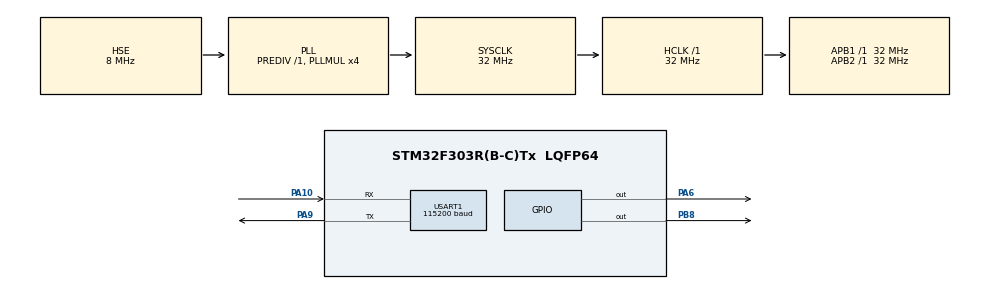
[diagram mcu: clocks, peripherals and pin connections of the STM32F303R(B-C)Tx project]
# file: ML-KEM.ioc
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Mcu.Family=STM32F3
Mcu.Name=STM32F303R(B-C)Tx
Mcu.Package=LQFP64
NVIC.PriorityGroup=NVIC_PRIORITYGROUP_4
PA10.Mode=Asynchronous
PA10.Signal=USART1_RX
PA6.PinState=GPIO_PIN_RESET
PA6.Signal=GPIO_Output
PA9.Mode=Asynchronous
PA9.Signal=USART1_TX
PB8.PinState=GPIO_PIN_SET
PB8.Signal=GPIO_Output
PF0-OSC_IN.Mode=HSE-External-Oscillator
PF0-OSC_IN.Signal=RCC_OSC_IN
PF1-OSC_OUT.Mode=HSE-External-Oscillator
PF1-OSC_OUT.Signal=RCC_OSC_OUT
ProjectManager.HeapSize=0x200
ProjectManager.StackSize=0x400
ProjectManager.TargetToolchain=STM32CubeIDE
RCC.AHBFreq_Value=32000000
RCC.APB1Freq_Value=32000000
RCC.APB1TimFreq_Value=32000000
RCC.APB2Freq_Value=32000000
RCC.APB2TimFreq_Value=32000000
RCC.CortexFreq_Value=32000000
RCC.HCLKFreq_Value=32000000
RCC.HSE_VALUE=8000000
RCC.HSI_VALUE=8000000
RCC.LSE_VALUE=32768
RCC.PLLMUL=RCC_PLL_MUL4
RCC.PLLSourceVirtual=RCC_PLLSOURCE_HSE
RCC.SYSCLKFreq_VALUE=32000000
RCC.SYSCLKSourceVirtual=RCC_SYSCLKSOURCE_PLLCLK
RCC.USBFreq_Value=32000000
USART1.BaudRate=115200
USART1.VirtualMode-Asynchronous=VM_ASYNC
board=custom

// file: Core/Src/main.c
/* USER CODE BEGIN Header */
/**
  ******************************************************************************
  * @file           : main.c
  * @brief          : Main program body
  ******************************************************************************
  * @attention
  *
  * Copyright (c) 2024 STMicroelectronics.
  * All rights reserved.
  *
  * This software is licensed under terms that can be found in the LICENSE file
  * in the root directory of this software component.
  * If no LICENSE file comes with this software, it is provided AS-IS.
  *
  ******************************************************************************
  */
/* USER CODE END Header */
#include "main.h"

/* USER CODE BEGIN Includes */
// ML-KEM-512 Ref: https://github.com/mupq/pqm4/tree/master/crypto_kem/ml-kem-512/m4fspeed
#include "api.h"

/* USER CODE END Includes */

UART_HandleTypeDef huart1;

void SystemClock_Config(void);
static void MX_GPIO_Init(void);
static void MX_USART1_UART_Init(void);

int main(void)
{

  /* USER CODE BEGIN 1 */
	uint8_t sk[CRYPTO_SECRETKEYBYTES];
	uint8_t pk[CRYPTO_PUBLICKEYBYTES];
	uint8_t ss[CRYPTO_BYTES];
	uint8_t ssoutput[CRYPTO_BYTES];
	uint8_t ct[CRYPTO_CIPHERTEXTBYTES];

	int ret = 0;
	uint8_t start[1];

  /* USER CODE END 1 */

  /* MCU Configuration--------------------------------------------------------*/

  /* Reset of all peripherals, Initializes the Flash interface and the Systick. */
  HAL_Init();

  /* Configure the system clock */
  SystemClock_Config();

  /* Initialize all configured peripherals */
  MX_GPIO_Init();
  MX_USART1_UART_Init();
  /* USER CODE BEGIN 2 */
  crypto_kem_keypair(pk, sk);
  /* USER CODE END 2 */

  /* Infinite loop */
  /* USER CODE BEGIN WHILE */
  while (1)
  {
	  ret = HAL_UART_Receive(&huart1, start, 1, HAL_MAX_DELAY); //receive 1 byte of data from the serial port
	  if(ret==HAL_OK)
	  {
		 __disable_irq();  // disable interrupts
		 HAL_GPIO_WritePin(GPIOA, GPIO_PIN_6, 1); // drive the level high before encryption as a trigger signal
		 crypto_kem_enc(ct, ss, pk); //generate the shared secret ss and the corresponding ciphertext ct
		 HAL_GPIO_WritePin(GPIOA, GPIO_PIN_6, 0); // drive the level low after encryption
		 __enable_irq();  // enable interrupts
	     HAL_UART_Transmit(&huart1, ss, CRYPTO_BYTES, HAL_MAX_DELAY);
	     HAL_UART_Transmit(&huart1, ct, CRYPTO_BYTES, HAL_MAX_DELAY);

		 __disable_irq();  // disable interrupts
		 HAL_GPIO_WritePin(GPIOA, GPIO_PIN_6, 1); // drive the level high before decryption as a trigger signal
		 crypto_kem_dec(ssoutput, ct, sk); //decrypt the ciphertext ct to obtain ssoutput
		 HAL_GPIO_WritePin(GPIOA, GPIO_PIN_6, 0); // drive the level low after decryption
		 __enable_irq();  // enable interrupts
	     HAL_UART_Transmit(&huart1, ssoutput, CRYPTO_BYTES, HAL_MAX_DELAY);

	  }

    /* USER CODE END WHILE */

  }
}

void SystemClock_Config(void)
{
  RCC_OscInitTypeDef RCC_OscInitStruct = {0};
  RCC_ClkInitTypeDef RCC_ClkInitStruct = {0};
  RCC_PeriphCLKInitTypeDef PeriphClkInit = {0};

  /** Initializes the RCC Oscillators according to the specified parameters
  * in the RCC_OscInitTypeDef structure.
  */
  RCC_OscInitStruct.OscillatorType = RCC_OSCILLATORTYPE_HSE;
  RCC_OscInitStruct.HSEState = RCC_HSE_ON;
  RCC_OscInitStruct.HSEPredivValue = RCC_HSE_PREDIV_DIV1;
  RCC_OscInitStruct.HSIState = RCC_HSI_ON;
  RCC_OscInitStruct.PLL.PLLState = RCC_PLL_ON;
  RCC_OscInitStruct.PLL.PLLSource = RCC_PLLSOURCE_HSE;
  RCC_OscInitStruct.PLL.PLLMUL = RCC_PLL_MUL4;
  if (HAL_RCC_OscConfig(&RCC_OscInitStruct) != HAL_OK)
  {
    Error_Handler();
  }

  /** Initializes the CPU, AHB and APB buses clocks
  */
  RCC_ClkInitStruct.ClockType = RCC_CLOCKTYPE_HCLK|RCC_CLOCKTYPE_SYSCLK
                              |RCC_CLOCKTYPE_PCLK1|RCC_CLOCKTYPE_PCLK2;
  RCC_ClkInitStruct.SYSCLKSource = RCC_SYSCLKSOURCE_PLLCLK;
  RCC_ClkInitStruct.AHBCLKDivider = RCC_SYSCLK_DIV1;
  RCC_ClkInitStruct.APB1CLKDivider = RCC_HCLK_DIV1;
  RCC_ClkInitStruct.APB2CLKDivider = RCC_HCLK_DIV1;

  if (HAL_RCC_ClockConfig(&RCC_ClkInitStruct, FLASH_LATENCY_1) != HAL_OK)
  {
    Error_Handler();
  }
  PeriphClkInit.PeriphClockSelection = RCC_PERIPHCLK_USART1;
  PeriphClkInit.Usart1ClockSelection = RCC_USART1CLKSOURCE_PCLK2;
  if (HAL_RCCEx_PeriphCLKConfig(&PeriphClkInit) != HAL_OK)
  {
    Error_Handler();
  }
}

static void MX_USART1_UART_Init(void)
{

  huart1.Instance = USART1;
  huart1.Init.BaudRate = 115200;
  huart1.Init.WordLength = UART_WORDLENGTH_8B;
  huart1.Init.StopBits = UART_STOPBITS_1;
  huart1.Init.Parity = UART_PARITY_NONE;
  huart1.Init.Mode = UART_MODE_TX_RX;
  huart1.Init.HwFlowCtl = UART_HWCONTROL_NONE;
  huart1.Init.OverSampling = UART_OVERSAMPLING_16;
  huart1.Init.OneBitSampling = UART_ONE_BIT_SAMPLE_DISABLE;
  huart1.AdvancedInit.AdvFeatureInit = UART_ADVFEATURE_NO_INIT;
  if (HAL_UART_Init(&huart1) != HAL_OK)
  {
    Error_Handler();
  }

}

static void MX_GPIO_Init(void)
{
  GPIO_InitTypeDef GPIO_InitStruct = {0};

  /* GPIO Ports Clock Enable */
  __HAL_RCC_GPIOF_CLK_ENABLE();
  __HAL_RCC_GPIOA_CLK_ENABLE();
  __HAL_RCC_GPIOB_CLK_ENABLE();

  /*Configure GPIO pin Output Level */
  HAL_GPIO_WritePin(GPIOA, GPIO_PIN_6, GPIO_PIN_RESET);

  /*Configure GPIO pin Output Level */
  HAL_GPIO_WritePin(GPIOB, GPIO_PIN_8, GPIO_PIN_SET);

  /*Configure GPIO pin : PA6 */
  GPIO_InitStruct.Pin = GPIO_PIN_6;
  GPIO_InitStruct.Mode = GPIO_MODE_OUTPUT_PP;
  GPIO_InitStruct.Pull = GPIO_NOPULL;
  GPIO_InitStruct.Speed = GPIO_SPEED_FREQ_LOW;
  HAL_GPIO_Init(GPIOA, &GPIO_InitStruct);

  /*Configure GPIO pin : PB8 */
  GPIO_InitStruct.Pin = GPIO_PIN_8;
  GPIO_InitStruct.Mode = GPIO_MODE_OUTPUT_PP;
  GPIO_InitStruct.Pull = GPIO_NOPULL;
  GPIO_InitStruct.Speed = GPIO_SPEED_FREQ_LOW;
  HAL_GPIO_Init(GPIOB, &GPIO_InitStruct);

}

/* USER CODE BEGIN 4 */

int __io_putchar(int ch)
{
	HAL_UART_Transmit(&huart1,(uint8_t *)&ch,1,0xFFFF);

	return ch;
}

/* USER CODE END 4 */

void Error_Handler(void)
{
  __disable_irq();
  while (1)
  {
  }
}
